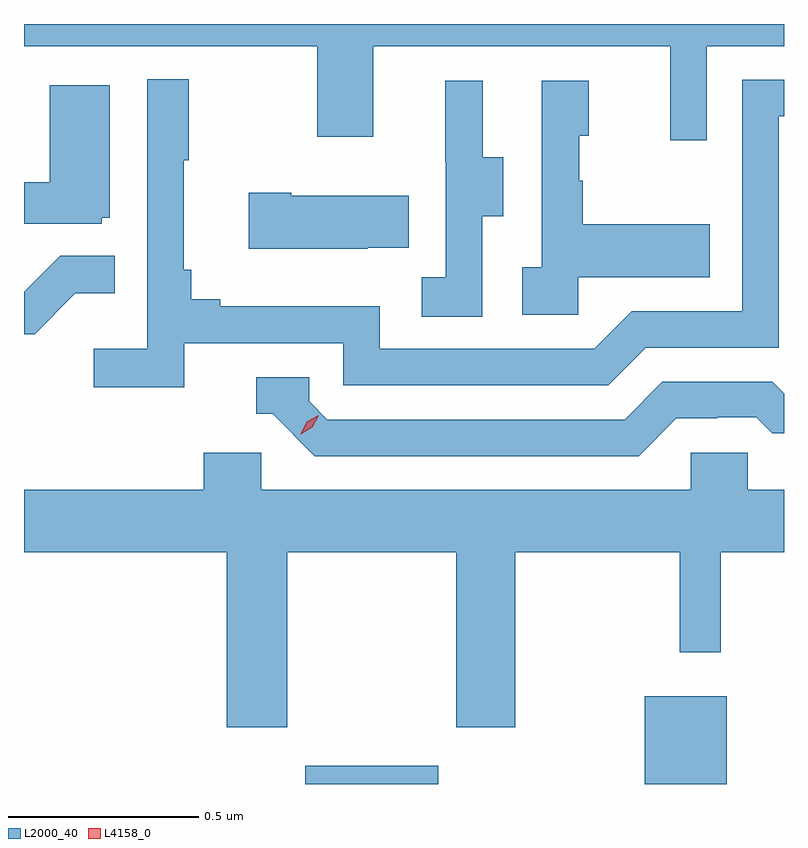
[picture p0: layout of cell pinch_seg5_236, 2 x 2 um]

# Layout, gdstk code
import gdstk
lib = gdstk.Library(unit=1e-6, precision=1e-09)
def R(c, l, rs):  # rectangles x0, y0, x1, y1
    for r in rs: c.add(gdstk.rectangle(r[:2], r[2:], *l))
def P(c, l, *ps):  # polygons
    for p in ps: c.add(gdstk.Polygon(p, *l))
L2000_40 = (2000, 40)
L4158_0 = (4158, 0)

pinch_seg5_236 = lib.new_cell('pinch_seg5_236')
R(pinch_seg5_236, L2000_40, [(965.438,894.778,965.788,894.826), (966.332,894.778,966.547,895.009)])
P(pinch_seg5_236, L2000_40, [(966.495,896.72),(966.698,896.72),(966.698,896.778),(964.698,896.778),(964.698,896.72),(965.47,896.72),(965.47,896.481),(965.617,896.481),(965.617,896.72),(966.398,896.72),(966.398,896.472),(966.495,896.472)],
  [(965.12,895.938),(965.538,895.938),(965.538,895.827),(966.235,895.827),(966.334,895.926),(966.684,895.926),(966.684,896.535),(966.698,896.535),(966.698,896.631),(966.588,896.631),(966.588,896.022),(966.297,896.022),(966.198,895.923),(965.634,895.923),(965.634,896.035),(965.215,896.035),(965.215,896.054),(965.138,896.054),(965.138,896.131),(965.119,896.131),(965.119,896.419),(965.131,896.419),(965.131,896.632),(965.022,896.632),(965.022,895.924),(964.881,895.924),(964.881,895.822),(965.12,895.822)],
  [(966.156,896.111),(966.503,896.111),(966.503,896.251),(966.169,896.251),(966.169,896.366),(966.159,896.366),(966.159,896.484),(966.184,896.484),(966.184,896.629),(966.06,896.629),(966.06,896.138),(966.009,896.138),(966.009,896.013),(966.156,896.013)],
  [(965.904,896.272),(965.959,896.272),(965.959,896.427),(965.905,896.427),(965.905,896.629),(965.807,896.629),(965.807,896.415),(965.808,896.415),(965.808,896.111),(965.745,896.111),(965.745,896.008),(965.904,896.008)],
  [(964.902,896.268),(964.924,896.268),(964.924,896.617),(964.766,896.617),(964.766,896.362),(964.698,896.362),(964.698,896.253),(964.902,896.253)],
  [(965.603,896.189),(965.711,896.189),(965.711,896.326),(965.401,896.326),(965.401,896.334),(965.289,896.334),(965.289,896.186),(965.603,896.186)],
  [(964.833,896.069),(964.937,896.069),(964.937,896.168),(964.793,896.168),(964.698,896.073),(964.698,895.962),(964.726,895.962)],
  [(966.415,895.74),(966.522,895.74),(966.522,895.743),(966.625,895.743),(966.667,895.701),(966.698,895.701),(966.698,895.805),(966.667,895.836),(966.378,895.836),(966.279,895.737),(965.496,895.737),(965.448,895.785),(965.448,895.848),(965.309,895.848),(965.309,895.752),(965.352,895.752),(965.463,895.641),(966.316,895.641)],
  [(965.391,895.388),(965.836,895.388),(965.836,894.927),(965.991,894.927),(965.991,895.388),(966.423,895.388),(966.423,895.125),(966.532,895.125),(966.532,895.388),(966.698,895.388),(966.698,895.552),(966.603,895.552),(966.603,895.65),(966.453,895.65),(966.453,895.552),(965.322,895.552),(965.322,895.65),(965.171,895.65),(965.171,895.552),(964.698,895.552),(964.698,895.388),(965.231,895.388),(965.231,894.927),(965.391,894.927)])
P(pinch_seg5_236, L4158_0, [(965.426,895.698),(965.426,895.698),(965.442,895.731),(965.473,895.749),(965.473,895.749),(965.473,895.749),(965.457,895.717),(965.426,895.698)])

lib.write_gds('pinch_seg5_236.gds')
